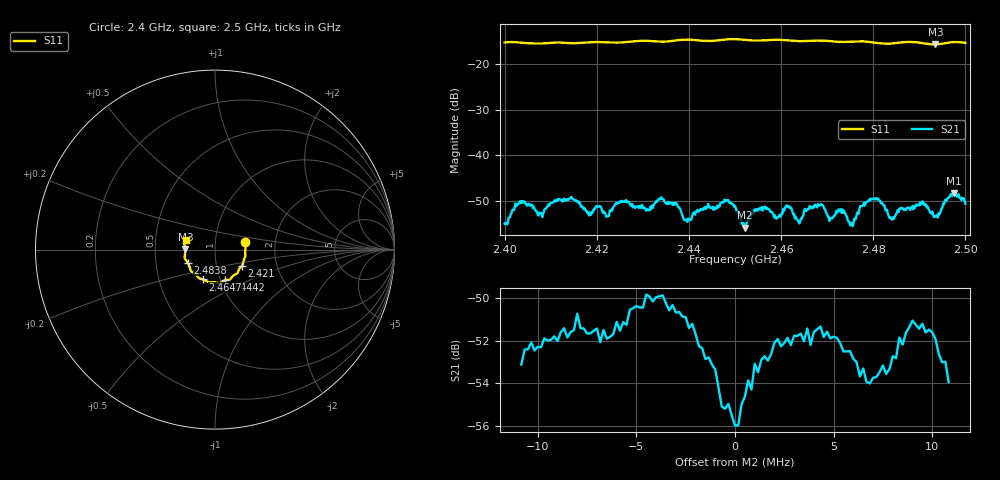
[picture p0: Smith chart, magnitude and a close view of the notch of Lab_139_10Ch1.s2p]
# Hz S RI R 50
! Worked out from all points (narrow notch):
!   601 points, 2.4 GHz to 2.5 GHz, reference 50 ohm
!   highest |S21| = -48.39 dB at 2.4975 GHz (marker M1); lowest = -56.0 dB at 2.4522 GHz (marker M2)
!   notch at M2: 4.4 dB deep, 1.82 MHz wide at half that depth
!   lowest |S11| = -15.6 dB at 2.4935 GHz (marker M3), VSWR 1.40, Z = 35.8 + j0.206 ohm
!   |S11| at or under -10 dB: start of sweep to end of sweep
!   S12 and S22 are empty: the file has one direction only
!   S11 on the Smith chart (normalised r, x): 2.4 GHz: 1.40, +0.12; 2.421 GHz: 1.33, -0.24; 2.4442 GHz: 1.05, -0.37; 2.4647 GHz: 0.83, -0.29; 2.4838 GHz: 0.73, -0.11; 2.5 GHz: 0.71, +0.08
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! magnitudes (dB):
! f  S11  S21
! 2.4 GHz  -15.2  -55.1
! 2.4037 GHz  -15.3  -50.1
! 2.4077 GHz  -15.5  -53.0
! 2.4118 GHz  -15.2  -49.7
! 2.4167 GHz  -15.3  -51.4
! 2.421 GHz  -15.1  -51.7
! 2.4333 GHz  -15.0  -49.8
! 2.4393 GHz  -14.6  -54.4
! 2.4442 GHz  -14.9  -50.7
! 2.45 GHz  -14.5  -51.2
! 2.4522 GHz  -14.6  -56.0
! 2.456 GHz  -14.8  -52.2
! 2.4647 GHz  -14.9  -53.5
! 2.4667 GHz  -14.8  -51.7
! 2.4752 GHz  -15.0  -55.2
! 2.4805 GHz  -15.3  -49.5
! 2.4833 GHz  -15.5  -53.4
! 2.4838 GHz  -15.5  -54.0
! 2.4907 GHz  -15.4  -50.2
! 2.4935 GHz  -15.6  -53.4
! 2.4975 GHz  -15.1  -48.4
! 2.5 GHz  -15.3  -50.7
